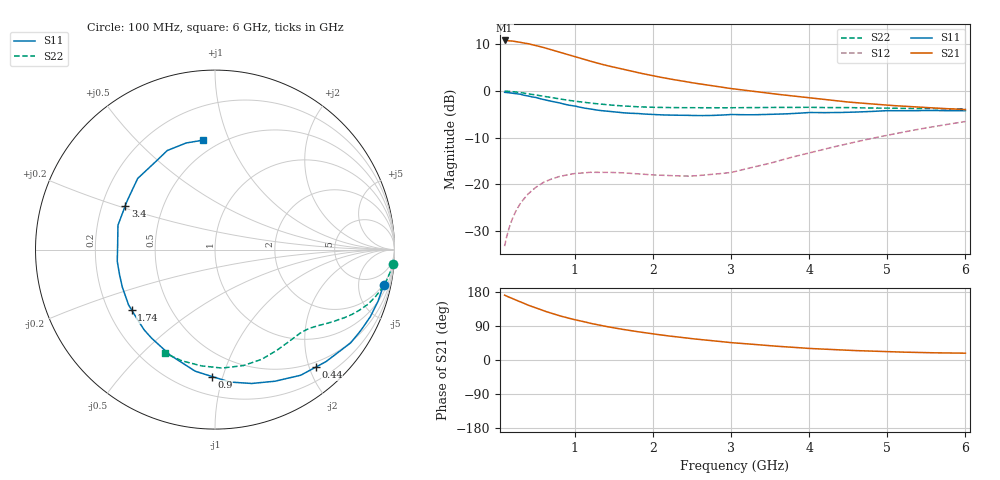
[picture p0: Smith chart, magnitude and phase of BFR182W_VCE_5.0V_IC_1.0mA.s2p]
! Infineon Technologies  Discrete & RF Semiconductors
! BFR182W
! VCE =  5.0 V,  IC =  1.0 mA
! Common Emitter S-Parameters:  Nov 2015
# GHz  S  MA  R  50
!  f  S11  S21  S12  S22
! GHz  MAG  ANG  MAG  ANG  MAG  ANG  MAG  ANG
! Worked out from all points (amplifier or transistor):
!   192 points, 100 MHz to 6 GHz, reference 50 ohm
!   highest |S21| = 10.7 dB at 100 MHz (marker M1)
!   |S21| within 3 dB of that: start of sweep to 905.8 MHz
!   unconditionally stable (mu >= 1): 2.147 GHz to 3.325 GHz
!   at 440 MHz: K = 0.20, MSG = 15.7 dB, |S12| = -21.4 dB
!   at 1.7 GHz: K = 0.79, MSG = 10.9 dB, |S12| = -17.6 dB
!   at 6 GHz: K = 0.81, MSG = 1.3 dB, |S12| = -6.6 dB
!   S11 on the Smith chart (normalised r, x): 100 MHz: 1.80, -9.25; 440 MHz: 0.41, -2.11; 900 MHz: 0.33, -0.92; 1.74 GHz: 0.30, -0.30; 3.4 GHz: 0.30, +0.21; 6 GHz: 0.41, +0.80
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0.1  0.9606 -11.9  3.433 171.1  0.022 82.5  0.9921 -4.5
0.15  0.9527 -17.7  3.408 166.4  0.0329 79.4  0.9863 -6.8
0.24  0.9311 -27.9  3.346 158.5  0.0512 73.3  0.9693 -10.6
0.4  0.8784 -45.3  3.173 144.9  0.0791 63.7  0.9293 -16.7
0.44  0.8626 -49.4  3.111 141.9  0.0847 61.2  0.9178 -18.0
0.5  0.8474 -55.7  3.034 137.2  0.0933 58.0  0.9014 -20.0
0.6  0.8059 -65.5  2.887 129.9  0.1056 53.2  0.8722 -22.8
0.64  0.7904 -69.1  2.82 127.2  0.109 51.4  0.861 -23.8
0.8  0.7425 -83.6  2.587 116.9  0.1216 45.4  0.8179 -27.5
0.9  0.7073 -91.5  2.438 111.3  0.127 42.1  0.7944 -29.3
1.1  0.6576 -105.9  2.181 101.8  0.1328 37.2  0.755 -32.7
1.2  0.6385 -113.1  2.063 96.8  0.1349 35.1  0.7374 -34.2
1.4  0.6066 -125.7  1.862 88.5  0.135 32.4  0.7098 -36.8
1.6  0.5837 -137.0  1.701 81.2  0.1334 31.3  0.6897 -39.2
1.74  0.5733 -144.2  1.602 76.8  0.131 31.6  0.6787 -40.9
2.08  0.5537 -160.3  1.4 66.8  0.1255 34.4  0.663 -45.3
2.5  0.5441 -177.1  1.216 56.1  0.1231 42.5  0.6577 -50.7
3.1  0.5549 162.9  1.029 44.3  0.1408 58.3  0.6584 -60.1
3.4  0.5563 154.0  0.957 39.2  0.1613 64.4  0.662 -65.3
4.1  0.5839 135.0  0.824 29.6  0.2278 70.0  0.6628 -78.3
5.1  0.6116 113.6  0.692 21.3  0.348 66.4  0.6496 -98.5
6  0.6132 96.5  0.629 18.0  0.4693 57.9  0.6416 -115.9
